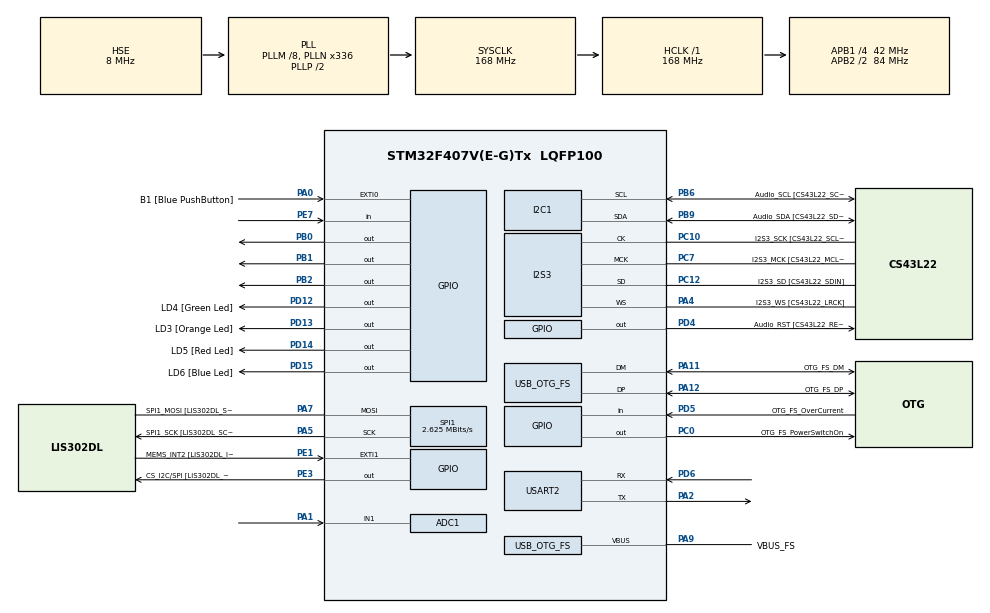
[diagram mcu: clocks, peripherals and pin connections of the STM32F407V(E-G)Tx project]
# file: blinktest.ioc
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ADC1.Channel-2\#ChannelRegularConversion=ADC_CHANNEL_1
ADC1.NbrOfConversionFlag=1
ADC1.Rank-2\#ChannelRegularConversion=1
ADC1.SamplingTime-2\#ChannelRegularConversion=ADC_SAMPLETIME_3CYCLES
ADC1.master=1
I2S3.AudioFreq-Half_Duplex_Master=I2S_AUDIOFREQ_96K
I2S3.ErrorAudioFreq=-2.34 %
I2S3.ErrorAudioFreq-Half_Duplex_Master=0.8 %
I2S3.FullDuplexMode=I2S_FULLDUPLEXMODE_DISABLE
I2S3.Instance=SPI$Index
I2S3.RealAudioFreq=93.75 KHz
I2S3.RealAudioFreq-Half_Duplex_Master=96.774 KHz
I2S3.VirtualMode=I2S_MODE_MASTER
Mcu.Family=STM32F4
Mcu.Name=STM32F407V(E-G)Tx
Mcu.Package=LQFP100
NVIC.OTG_FS_IRQn=true\:0\:0\:false\:false\:true\:true\:true\:true
NVIC.PriorityGroup=NVIC_PRIORITYGROUP_0
PA0-WKUP.GPIO_Label=B1 [Blue PushButton]
PA0-WKUP.GPIO_ModeDefaultEXTI=GPIO_MODE_EVT_RISING
PA0-WKUP.GPIO_PuPd=GPIO_NOPULL
PA0-WKUP.Signal=GPXTI0
PA1.Signal=ADCx_IN1
PA10.GPIO_Label=OTG_FS_ID
PA10.GPIO_Mode=GPIO_MODE_AF_PP
PA10.GPIO_PuPd=GPIO_NOPULL
PA10.GPIO_Speed=GPIO_SPEED_FREQ_LOW
PA10.Signal=USB_OTG_FS_ID
PA11.GPIO_Label=OTG_FS_DM
PA11.GPIO_Mode=GPIO_MODE_AF_PP
PA11.GPIO_PuPd=GPIO_NOPULL
PA11.GPIO_Speed=GPIO_SPEED_FREQ_LOW
PA11.Mode=Host_Only
PA11.Signal=USB_OTG_FS_DM
PA12.GPIO_Label=OTG_FS_DP
PA12.GPIO_Mode=GPIO_MODE_AF_PP
PA12.GPIO_PuPd=GPIO_NOPULL
PA12.GPIO_Speed=GPIO_SPEED_FREQ_LOW
PA12.Mode=Host_Only
PA12.Signal=USB_OTG_FS_DP
PA13.GPIO_Label=SWDIO
PA13.Mode=Serial_Wire
PA13.Signal=SYS_JTMS-SWDIO
PA14.GPIO_Label=SWCLK
PA14.Mode=Serial_Wire
PA14.Signal=SYS_JTCK-SWCLK
PA2.Mode=Asynchronous
PA2.Signal=USART2_TX
PA4.GPIO_Label=I2S3_WS [CS43L22_LRCK]
PA4.GPIO_Mode=GPIO_MODE_AF_PP
PA4.GPIO_PuPd=GPIO_NOPULL
PA4.GPIO_Speed=GPIO_SPEED_FREQ_LOW
PA4.Mode=Half_Duplex_Master
PA4.Signal=I2S3_WS
PA5.GPIO_Label=SPI1_SCK [LIS302DL_SCL/SPC]
PA5.GPIO_Mode=GPIO_MODE_AF_PP
PA5.GPIO_PuPd=GPIO_NOPULL
PA5.GPIO_Speed=GPIO_SPEED_FREQ_LOW
PA5.Mode=Simplex_Bidirectional_Master
PA5.Signal=SPI1_SCK
PA6.GPIO_Label=SPI1_MISO [LIS302DL_SDO]
PA6.GPIO_Mode=GPIO_MODE_AF_PP
PA6.GPIO_PuPd=GPIO_NOPULL
PA6.GPIO_Speed=GPIO_SPEED_FREQ_LOW
PA6.Signal=SPI1_MISO
PA7.GPIO_Label=SPI1_MOSI [LIS302DL_SDA/SDI/SDO]
PA7.GPIO_Mode=GPIO_MODE_AF_PP
PA7.GPIO_PuPd=GPIO_NOPULL
PA7.GPIO_Speed=GPIO_SPEED_FREQ_LOW
PA7.Mode=Simplex_Bidirectional_Master
PA7.Signal=SPI1_MOSI
PA9.GPIO_Label=VBUS_FS
PA9.GPIO_Mode=GPIO_MODE_INPUT
PA9.GPIO_PuPd=GPIO_NOPULL
PA9.Mode=Activate_VBUS
PA9.Signal=USB_OTG_FS_VBUS
PB0.Signal=GPIO_Output
PB1.Signal=GPIO_Output
PB10.GPIO_Label=CLK_IN [MP45DT02_CLK]
PB10.GPIO_Mode=GPIO_MODE_AF_PP
PB10.GPIO_PuPd=GPIO_NOPULL
PB10.GPIO_Speed=GPIO_SPEED_FREQ_LOW
PB10.Signal=I2S2_CK
PB2.Signal=GPIO_Output
PB3.GPIO_Label=SWO
PB3.Signal=SYS_JTDO-SWO
PB6.GPIO_Label=Audio_SCL [CS43L22_SCL]
PB6.GPIO_Mode=GPIO_MODE_AF_OD
PB6.GPIO_Pu=GPIO_PULLUP
PB6.GPIO_PuPd=GPIO_NOPULL
PB6.GPIO_Speed=GPIO_SPEED_FREQ_LOW
PB6.Mode=I2C
PB6.Signal=I2C1_SCL
PB9.GPIO_Label=Audio_SDA [CS43L22_SDA]
PB9.GPIO_Mode=GPIO_MODE_AF_OD
PB9.GPIO_Pu=GPIO_PULLUP
PB9.GPIO_PuPd=GPIO_NOPULL
PB9.GPIO_Speed=GPIO_SPEED_FREQ_LOW
PB9.Mode=I2C
PB9.Signal=I2C1_SDA
PC0.GPIO_Label=OTG_FS_PowerSwitchOn
PC0.GPIO_PuPd=GPIO_NOPULL
PC0.GPIO_Speed=GPIO_SPEED_FREQ_LOW
PC0.PinState=GPIO_PIN_SET
PC0.Signal=GPIO_Output
PC10.GPIO_Label=I2S3_SCK [CS43L22_SCLK]
PC10.GPIO_Mode=GPIO_MODE_AF_PP
PC10.GPIO_PuPd=GPIO_NOPULL
PC10.GPIO_Speed=GPIO_SPEED_FREQ_LOW
PC10.Mode=Half_Duplex_Master
PC10.Signal=I2S3_CK
PC12.GPIO_Label=I2S3_SD [CS43L22_SDIN]
PC12.GPIO_Mode=GPIO_MODE_AF_PP
PC12.GPIO_PuPd=GPIO_NOPULL
PC12.GPIO_Speed=GPIO_SPEED_FREQ_LOW
PC12.Mode=Half_Duplex_Master
PC12.Signal=I2S3_SD
PC14-OSC32_IN.GPIO_Label=PC14-OSC32_IN
PC14-OSC32_IN.Signal=RCC_OSC32_IN
PC15-OSC32_OUT.GPIO_Label=PC15-OSC32_OUT
PC15-OSC32_OUT.Signal=RCC_OSC32_OUT
PC3.GPIO_Label=PDM_OUT [MP45DT02_DOUT]
PC3.GPIO_Mode=GPIO_MODE_AF_PP
PC3.GPIO_PuPd=GPIO_NOPULL
PC3.GPIO_Speed=GPIO_SPEED_FREQ_LOW
PC3.Signal=I2S2_SD
PC7.GPIO_Label=I2S3_MCK [CS43L22_MCLK]
PC7.GPIO_Mode=GPIO_MODE_AF_PP
PC7.GPIO_PuPd=GPIO_NOPULL
PC7.GPIO_Speed=GPIO_SPEED_FREQ_LOW
PC7.Mode=Master_Clock_Activated
PC7.Signal=I2S3_MCK
PD12.GPIO_Label=LD4 [Green Led]
PD12.GPIO_PuPd=GPIO_NOPULL
PD12.GPIO_Speed=GPIO_SPEED_FREQ_LOW
PD12.Signal=GPIO_Output
PD13.GPIO_Label=LD3 [Orange Led]
PD13.GPIO_PuPd=GPIO_NOPULL
PD13.GPIO_Speed=GPIO_SPEED_FREQ_LOW
PD13.Signal=GPIO_Output
PD14.GPIO_Label=LD5 [Red Led]
PD14.GPIO_PuPd=GPIO_NOPULL
PD14.GPIO_Speed=GPIO_SPEED_FREQ_LOW
PD14.Signal=GPIO_Output
PD15.GPIO_Label=LD6 [Blue Led]
PD15.GPIO_PuPd=GPIO_NOPULL
PD15.GPIO_Speed=GPIO_SPEED_FREQ_LOW
PD15.Signal=GPIO_Output
PD4.GPIO_Label=Audio_RST [CS43L22_RESET]
PD4.GPIO_PuPd=GPIO_NOPULL
PD4.GPIO_Speed=GPIO_SPEED_FREQ_LOW
PD4.Signal=GPIO_Output
PD5.GPIO_Label=OTG_FS_OverCurrent
PD5.GPIO_Mode=GPIO_MODE_INPUT
PD5.GPIO_PuPd=GPIO_NOPULL
PD5.Signal=GPIO_Input
PD6.Mode=Asynchronous
PD6.Signal=USART2_RX
PE1.GPIO_Label=MEMS_INT2 [LIS302DL_INT2]
PE1.GPIO_ModeDefaultEXTI=GPIO_MODE_EVT_RISING
PE1.GPIO_PuPd=GPIO_NOPULL
PE1.Signal=GPXTI1
PE3.GPIO_Label=CS_I2C/SPI [LIS302DL_CS_I2C/SPI]
PE3.GPIO_PuPd=GPIO_NOPULL
PE3.GPIO_Speed=GPIO_SPEED_FREQ_LOW
PE3.Signal=GPIO_Output
PE7.GPIO_PuPd=GPIO_PULLUP
PE7.Signal=GPIO_Input
PH0-OSC_IN.GPIO_Label=PH0-OSC_IN
PH0-OSC_IN.Mode=HSE-External-Oscillator
PH0-OSC_IN.Signal=RCC_OSC_IN
PH1-OSC_OUT.GPIO_Label=PH1-OSC_OUT
PH1-OSC_OUT.Mode=HSE-External-Oscillator
PH1-OSC_OUT.Signal=RCC_OSC_OUT
ProjectManager.HeapSize=0x200
ProjectManager.StackSize=0x400
ProjectManager.TargetToolchain=STM32CubeIDE
RCC.48MHZClocksFreq_Value=48000000
RCC.AHBFreq_Value=168000000
RCC.APB1CLKDivider=RCC_HCLK_DIV4
RCC.APB1Freq_Value=42000000
RCC.APB1TimFreq_Value=84000000
RCC.APB2CLKDivider=RCC_HCLK_DIV2
RCC.APB2Freq_Value=84000000
RCC.APB2TimFreq_Value=168000000
RCC.CortexFreq_Value=168000000
RCC.HCLKFreq_Value=168000000
RCC.HSE_VALUE=8000000
RCC.HSI_VALUE=16000000
RCC.LSE_VALUE=32768
RCC.PLLM=8
RCC.PLLN=336
RCC.PLLQ=7
RCC.SYSCLKFreq_VALUE=168000000
RCC.SYSCLKSource=RCC_SYSCLKSOURCE_PLLCLK
RCC.VCOOutputFreq_Value=336000000
SH.ADCx_IN1.0=ADC1_IN1,IN1
SPI1.BaudRatePrescaler=SPI_BAUDRATEPRESCALER_32
SPI1.CLKPhase=SPI_PHASE_1EDGE
SPI1.CLKPolarity=SPI_POLARITY_LOW
SPI1.CalculateBaudRate=2.625 MBits/s
SPI1.Direction=SPI_DIRECTION_1LINE
SPI1.Mode=SPI_MODE_MASTER
SPI1.VirtualType=VM_MASTER
USART2.VirtualMode=VM_ASYNC
USB_HOST.BSP.number=1
USB_HOST.USBH_HandleTypeDef-CDC_FS=hUsbHostFS
USB_HOST.VirtualModeFS=Cdc
USB_HOST0.BSP.STBoard=false
USB_HOST0.BSP.api=Unknown
USB_HOST0.BSP.instance=PC0
USB_HOST0.BSP.ip=GPIO
USB_HOST0.BSP.mode=Output
USB_HOST0.BSP.name=Drive_VBUS_FS
USB_HOST0.BSP.solution=PC0
USB_OTG_FS.VirtualMode=Host_Only
USB_OTG_FS.phy_itface=HCD_PHY_EMBEDDED
VP_USB_HOST_VS_USB_HOST_CDC_FS.Mode=CDC_FS
board=STM32F407G-DISC1

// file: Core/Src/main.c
/* USER CODE BEGIN Header */
/**
 ******************************************************************************
 * @file           : main.c
 * @brief          : Main program body
 ******************************************************************************
 * @attention
 *
 * Copyright (c) 2025 STMicroelectronics.
 * All rights reserved.
 *
 * This software is licensed under terms that can be found in the LICENSE file
 * in the root directory of this software component.
 * If no LICENSE file comes with this software, it is provided AS-IS.
 *
 ******************************************************************************
 */
/* USER CODE END Header */
#include "main.h"
#include "adc.h"
#include "i2c.h"
#include "i2s.h"
#include "spi.h"
#include "usart.h"
#include "usb_host.h"
#include "gpio.h"

/* USER CODE BEGIN Includes */
#include <string.h>
#include <stdio.h>
#include "main.h"
#include "stm32f4xx_hal.h"
#include "st7735.h"
#include "fonts.h"
/* USER CODE END Includes */

void SystemClock_Config(void);
void MX_USB_HOST_Process(void);

/* USER CODE BEGIN 0 */

int __io_putchar(int ch) {
	HAL_UART_Transmit(&huart2, (uint8_t*) &ch, 1, HAL_MAX_DELAY);
	return ch;
}

void lcd_send_cmd(uint8_t cmd) {
	HAL_GPIO_WritePin(GPIOB, GPIO_PIN_0, GPIO_PIN_RESET); // DC low
	HAL_GPIO_WritePin(GPIOB, GPIO_PIN_2, GPIO_PIN_RESET); // CS low
	HAL_SPI_Transmit(&hspi1, &cmd, 1, HAL_MAX_DELAY);
	HAL_GPIO_WritePin(GPIOB, GPIO_PIN_2, GPIO_PIN_SET);   // CS high
}

// send 1 byte data
void lcd_send_data(uint8_t data) {
	HAL_GPIO_WritePin(GPIOB, GPIO_PIN_0, GPIO_PIN_SET);   // DC high
	HAL_GPIO_WritePin(GPIOB, GPIO_PIN_2, GPIO_PIN_RESET); // CS low
	HAL_SPI_Transmit(&hspi1, &data, 1, HAL_MAX_DELAY);
	HAL_GPIO_WritePin(GPIOB, GPIO_PIN_2, GPIO_PIN_SET);   // CS high
}

// send multiple byte data
void lcd_send_data_array(uint8_t *data, uint16_t len) {
	HAL_GPIO_WritePin(GPIOB, GPIO_PIN_0, GPIO_PIN_SET);
	HAL_GPIO_WritePin(GPIOB, GPIO_PIN_2, GPIO_PIN_RESET);
	HAL_SPI_Transmit(&hspi1, data, len, HAL_MAX_DELAY);
	HAL_GPIO_WritePin(GPIOB, GPIO_PIN_2, GPIO_PIN_SET);
}

void lcd_reset() {
	HAL_GPIO_WritePin(GPIOB, GPIO_PIN_1, GPIO_PIN_RESET);
	HAL_Delay(10);
	HAL_GPIO_WritePin(GPIOB, GPIO_PIN_1, GPIO_PIN_SET);
	HAL_Delay(10);
}

void lcd_init() {
	lcd_reset();

	lcd_send_cmd(0x01); // Software reset
	HAL_Delay(150);

	lcd_send_cmd(0x11); // Sleep out
	HAL_Delay(150);

	lcd_send_cmd(0x3A); // Color mode
	lcd_send_data(0x05); // 16-bit

	lcd_send_cmd(0x36); // MADCTL
	lcd_send_data(0xC0); // <- MX + MY + RGB

	lcd_send_cmd(0x29); // Display on
	HAL_Delay(10);
}

void lcd_fill_screen(uint16_t color) {
	uint8_t hi = color >> 8;
	uint8_t lo = color & 0xFF;

	// Set address window
	lcd_send_cmd(0x2A);
	uint8_t data_x[] = { 0x00, 0x00, 0x00, 0x7F };
	lcd_send_data_array(data_x, 4);

	lcd_send_cmd(0x2B);
	uint8_t data_y[] = { 0x00, 0x00, 0x00, 0x9F };
	lcd_send_data_array(data_y, 4);

	lcd_send_cmd(0x2C); // RAMWR

	// send colors
	HAL_GPIO_WritePin(GPIOB, GPIO_PIN_0, GPIO_PIN_SET); // DC high
	HAL_GPIO_WritePin(GPIOB, GPIO_PIN_2, GPIO_PIN_RESET); // CS low

	for (int i = 0; i < 128 * 160; i++) {
		uint8_t pix[2] = { hi, lo };
		HAL_SPI_Transmit(&hspi1, pix, 2, HAL_MAX_DELAY);
	}

	HAL_GPIO_WritePin(GPIOB, GPIO_PIN_2, GPIO_PIN_SET); // CS high
}

/* USER CODE END 0 */

int main(void) {

	/* MCU Configuration--------------------------------------------------------*/

	/* Reset of all peripherals, Initializes the Flash interface and the Systick. */
	HAL_Init();

	/* Configure the system clock */
	SystemClock_Config();

	/* Initialize all configured peripherals */
	MX_GPIO_Init();
	MX_I2C1_Init();
	MX_I2S3_Init();
	MX_SPI1_Init();
	MX_USB_HOST_Init();
	MX_USART2_UART_Init();
	MX_ADC1_Init();
	/* USER CODE BEGIN 2 */
//  HAL_GPIO_WritePin(GPIOD, GPIO_PIN_12, GPIO_PIN_RESET);
	HAL_ADC_Start(&hadc1);

	{
		const char msg[] = "kakakaka!\r\n";
		HAL_UART_Transmit(&huart2, (uint8_t*) msg, sizeof(msg) - 1,
		HAL_MAX_DELAY);
	}

	HAL_Delay(200);

	ST7735_Init();
	ST7735_FillScreen(ST7735_BLACK);
	ST7735_WriteString(0, 0, "init abc xyz 123456789 987651236 %^@&#!*#!@#", Font_11x18, ST7735_YELLOW, ST7735_BLACK);

//	void draw_moving_line(uint8_t y) {
//		ST7735_FillScreen(ST7735_BLACK);
//		ST7735_FillRectangle(0, y, ST7735_WIDTH, 2, ST7735_RED);
//	}

	uint8_t last_y = 255;
	/* USER CODE END 2 */

	/* Infinite loop */
	/* USER CODE BEGIN WHILE */
	while (1) {
		HAL_ADC_Start(&hadc1);
		HAL_ADC_PollForConversion(&hadc1, HAL_MAX_DELAY);
		uint16_t adcValue = HAL_ADC_GetValue(&hadc1);
		uint8_t y = (adcValue * 158) / 4095;

		if (y != last_y) {
			// Xoá đường cũ
			ST7735_FillRectangle(0, last_y, ST7735_WIDTH, 2, ST7735_BLACK);
			// Vẽ đường mới
			ST7735_FillRectangle(0, y, ST7735_WIDTH, 2, ST7735_RED);
			last_y = y;
		}

		/* USER CODE END WHILE */
		MX_USB_HOST_Process();

	}
}

void SystemClock_Config(void) {
	RCC_OscInitTypeDef RCC_OscInitStruct = { 0 };
	RCC_ClkInitTypeDef RCC_ClkInitStruct = { 0 };

	/** Configure the main internal regulator output voltage
	 */
	__HAL_RCC_PWR_CLK_ENABLE();
	__HAL_PWR_VOLTAGESCALING_CONFIG(PWR_REGULATOR_VOLTAGE_SCALE1);

	/** Initializes the RCC Oscillators according to the specified parameters
	 * in the RCC_OscInitTypeDef structure.
	 */
	RCC_OscInitStruct.OscillatorType = RCC_OSCILLATORTYPE_HSE;
	RCC_OscInitStruct.HSEState = RCC_HSE_ON;
	RCC_OscInitStruct.PLL.PLLState = RCC_PLL_ON;
	RCC_OscInitStruct.PLL.PLLSource = RCC_PLLSOURCE_HSE;
	RCC_OscInitStruct.PLL.PLLM = 8;
	RCC_OscInitStruct.PLL.PLLN = 336;
	RCC_OscInitStruct.PLL.PLLP = RCC_PLLP_DIV2;
	RCC_OscInitStruct.PLL.PLLQ = 7;
	if (HAL_RCC_OscConfig(&RCC_OscInitStruct) != HAL_OK) {
		Error_Handler();
	}

	/** Initializes the CPU, AHB and APB buses clocks
	 */
	RCC_ClkInitStruct.ClockType = RCC_CLOCKTYPE_HCLK | RCC_CLOCKTYPE_SYSCLK
			| RCC_CLOCKTYPE_PCLK1 | RCC_CLOCKTYPE_PCLK2;
	RCC_ClkInitStruct.SYSCLKSource = RCC_SYSCLKSOURCE_PLLCLK;
	RCC_ClkInitStruct.AHBCLKDivider = RCC_SYSCLK_DIV1;
	RCC_ClkInitStruct.APB1CLKDivider = RCC_HCLK_DIV4;
	RCC_ClkInitStruct.APB2CLKDivider = RCC_HCLK_DIV2;

	if (HAL_RCC_ClockConfig(&RCC_ClkInitStruct, FLASH_LATENCY_5) != HAL_OK) {
		Error_Handler();
	}
}

void Error_Handler(void) {
	__disable_irq();
	while (1) {
	}
}
